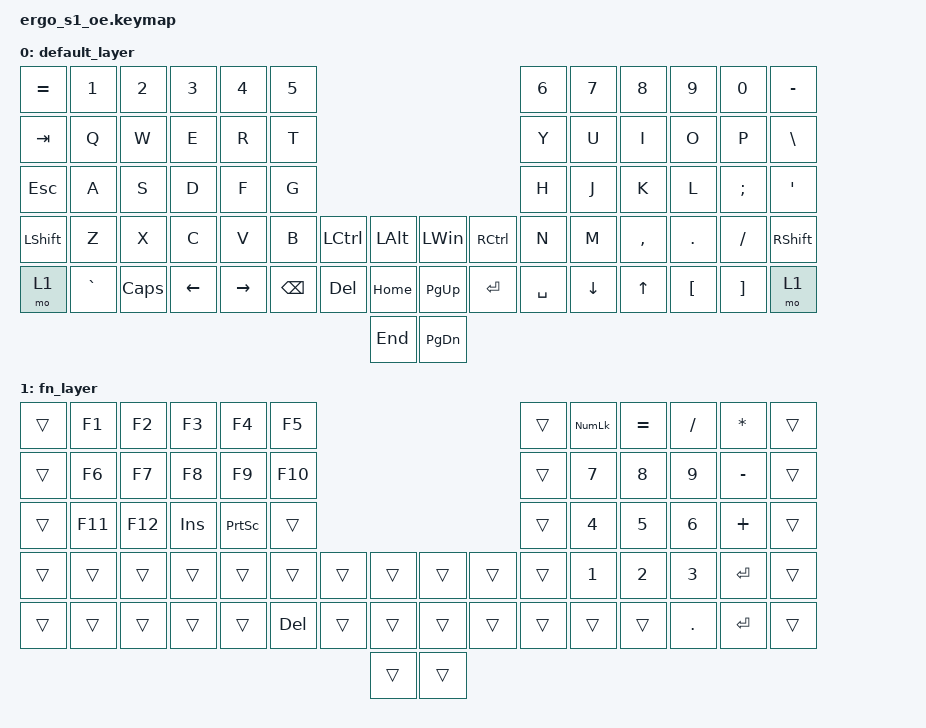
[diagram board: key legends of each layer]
/*
 * Copyright (c) 2021 The ZMK Contributors
 *
 * SPDX-License-Identifier: MIT
 */ 

#include <behaviors.dtsi>
#include <dt-bindings/zmk/keys.h>

#define DEFAULT 0
#define FN  1

/ {
    keymap {
        compatible = "zmk,keymap";

        default_layer {
            // ---------------------------------------------------------------------------------------------------------------------------------
            // | ESC  |  1   |  2   |  3   |  4   |  5   |                                                   |  6   |  7   |  8   |  9   |  0   | BSPC |
            // | WIN  |  Q   |  W   |  E   |  R   |  T   |                                                   |  Y   |  U   |  I   |  O   |  P   | EQL  |
            // | TAB  |  A   |  S   |  D   |  F   |  G   |                                                   |  H   |  J   |  K   |  L   | SCLN | QUOT |
            // | LCTL |  Z   |  X   |  C   |  V   |  B   |      | CTL  | ALT  |         | CAPS | CTL  |      |  N   |  M   | COMM | DOT  | SLSH | MINS |
            //        | GRV  | BSLS | LEFT | RGHT |      | SHFT |  FN  | HOME |         | PGUP | ENT  | SPC  |      |  UP  |  DN  | LBKT | RBKT |
            //                                                         | END  |         | PGDN |

            bindings = <
&kp EQUAL       &kp N1     &kp N2      &kp N3    &kp N4     &kp N5                                                                                 &kp N6  &kp N7    &kp N8     &kp N9      &kp N0     &kp MINUS
&kp TAB         &kp Q      &kp W       &kp E     &kp R      &kp T                                                                                  &kp Y   &kp U     &kp I      &kp O       &kp P      &kp BACKSLASH
&kp ESCAPE      &kp A      &kp S       &kp D     &kp F      &kp G                                                                                  &kp H   &kp J     &kp K      &kp L       &kp SEMI   &kp SQT
&kp LEFT_SHIFT  &kp Z      &kp X       &kp C     &kp V      &kp B                  &kp LCTRL  &kp LEFT_ALT    &kp LEFT_WIN  &kp RCTRL              &kp N   &kp M     &kp COMMA  &kp PERIOD  &kp SLASH  &kp RIGHT_SHIFT
&mo 1           &kp GRAVE  &kp CAPS    &kp LEFT  &kp RIGHT          &kp BACKSPACE  &kp DEL    &kp HOME        &kp PG_UP      &kp ENTER  &kp SPACE          &kp DOWN  &kp UP     &kp LBKT    &kp RBKT   &mo 1
                                                                                              &kp END         &kp PG_DN
            >;
        };

        fn_layer {
            // ---------------------------------------------------------------------------------------------------------------------------------
            // |BT_CLR|  F1  |  F2  |  F3  |  F4  |  F5  |                                                   |      | NLCK |  =   |  /   |  *   |      |
            // |      |  F6  |  F7  |  F8  |  F9  |  F10 |                                                   |      |  7   |  8   |  9   |  -   |      |
            // |      |      |      |      |      |      |                                                   |      |  4   |  5   |  6   |  +   |      |
            // |      |      |      |      |      | PTSC |      |      |      |         |      |      |      |      |  1   |  2   |  3   | ENT  |      |
            //        |      | INS  |      |      |      |      |  FN  |      |         |      |      |      |      |      |      |  .   | ENT  |
            //                                                         |      |         |      |

            bindings = <
&trans  &kp F1   &kp F2   &kp F3   &kp F4           &kp F5                                                      &trans  &kp KP_NUM  &kp EQUAL  &kp SLASH  &kp STAR   &trans
&trans  &kp F6   &kp F7   &kp F8   &kp F9           &kp F10                                                     &trans  &kp N7      &kp N8     &kp N9     &kp MINUS  &trans
&trans  &kp F11  &kp F12  &kp INS  &kp PRINTSCREEN  &trans                                                      &trans  &kp N4      &kp N5     &kp N6     &kp PLUS   &trans
&trans  &trans   &trans   &trans   &trans           &trans            &trans  &trans    &trans  &trans          &trans  &kp N1      &kp N2     &kp N3     &kp ENTER  &trans
&trans  &trans   &trans   &trans   &trans                    &kp DEL  &trans  &trans    &trans  &trans  &trans          &trans      &trans     &kp DOT    &kp ENTER  &trans
                                                                              &trans    &trans
            >;
        };
    };
};
